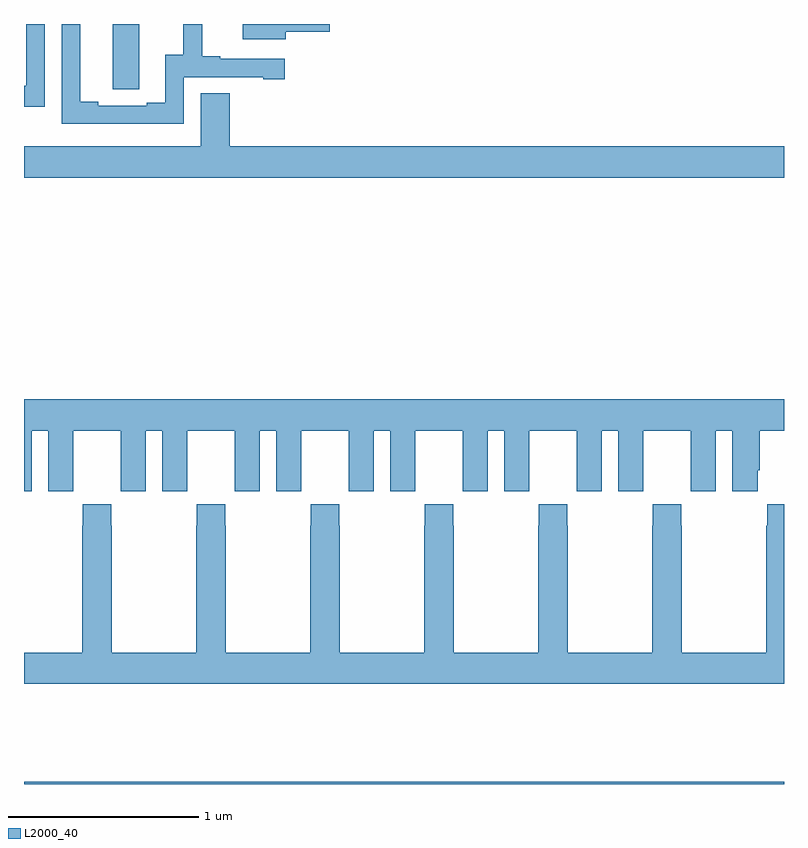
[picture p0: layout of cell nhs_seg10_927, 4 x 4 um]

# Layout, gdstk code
import gdstk
lib = gdstk.Library(unit=1e-6, precision=1e-09)
def R(c, l, rs):  # rectangles x0, y0, x1, y1
    for r in rs: c.add(gdstk.rectangle(r[:2], r[2:], *l))
def P(c, l, *ps):  # polygons
    for p in ps: c.add(gdstk.Polygon(p, *l))
L2000_40 = (2000, 40)

nhs_seg10_927 = lib.new_cell('nhs_seg10_927')
R(nhs_seg10_927, L2000_40, [(159,1254.5,163,1254.512)])
P(nhs_seg10_927, L2000_40, [(159.108,1258.5),(159.011,1258.5),(159.011,1258.174),(159,1258.174),(159,1258.064),(159.108,1258.064)],
  [(159.606,1258.264),(159.607,1258.264),(159.607,1258.5),(159.467,1258.5),(159.467,1258.156),(159.606,1258.156)],
  [(159.84,1258.221),(160.259,1258.221),(160.259,1258.209),(160.372,1258.209),(160.372,1258.317),(160.033,1258.317),(160.033,1258.33),(159.938,1258.33),(159.938,1258.5),(159.838,1258.5),(159.838,1258.337),(159.743,1258.337),(159.743,1258.086),(159.647,1258.086),(159.647,1258.071),(159.391,1258.071),(159.391,1258.091),(159.295,1258.091),(159.295,1258.5),(159.198,1258.5),(159.198,1257.975),(159.84,1257.975)],
  [(160.378,1258.46),(160.609,1258.46),(160.609,1258.5),(160.151,1258.5),(160.151,1258.421),(160.378,1258.421)],
  [(163,1257.856),(160.082,1257.856),(160.082,1258.136),(159.929,1258.136),(159.929,1257.856),(159,1257.856),(159,1257.692),(163,1257.692)],
  [(159,1256.04),(159.04,1256.04),(159.04,1256.36),(159.128,1256.36),(159.128,1256.04),(159.258,1256.04),(159.258,1256.152),(159.259,1256.152),(159.259,1256.36),(159.509,1256.36),(159.509,1256.152),(159.51,1256.152),(159.51,1256.04),(159.64,1256.04),(159.64,1256.36),(159.728,1256.36),(159.728,1256.04),(159.858,1256.04),(159.858,1256.152),(159.859,1256.152),(159.859,1256.36),(160.109,1256.36),(160.109,1256.152),(160.11,1256.152),(160.11,1256.04),(160.24,1256.04),(160.24,1256.36),(160.328,1256.36),(160.328,1256.04),(160.458,1256.04),(160.458,1256.152),(160.459,1256.152),(160.459,1256.36),(160.709,1256.36),(160.709,1256.152),(160.71,1256.152),(160.71,1256.04),(160.84,1256.04),(160.84,1256.36),(160.928,1256.36),(160.928,1256.04),(161.058,1256.04),(161.058,1256.152),(161.059,1256.152),(161.059,1256.36),(161.309,1256.36),(161.309,1256.152),(161.31,1256.152),(161.31,1256.04),(161.44,1256.04),(161.44,1256.36),(161.528,1256.36),(161.528,1256.04),(161.658,1256.04),(161.658,1256.152),(161.659,1256.152),(161.659,1256.36),(161.909,1256.36),(161.909,1256.152),(161.91,1256.152),(161.91,1256.04),(162.04,1256.04),(162.04,1256.36),(162.128,1256.36),(162.128,1256.04),(162.258,1256.04),(162.258,1256.152),(162.259,1256.152),(162.259,1256.36),(162.509,1256.36),(162.509,1256.152),(162.51,1256.152),(162.51,1256.04),(162.64,1256.04),(162.64,1256.36),(162.728,1256.36),(162.728,1256.04),(162.862,1256.04),(162.862,1256.152),(162.872,1256.152),(162.872,1256.36),(163,1256.36),(163,1256.524),(159,1256.524)],
  [(161.859,1255.859),(161.859,1255.972),(161.709,1255.972),(161.709,1255.859),(161.707,1255.859),(161.707,1255.192),(161.262,1255.192),(161.262,1255.859),(161.259,1255.859),(161.259,1255.972),(161.109,1255.972),(161.109,1255.859),(161.107,1255.859),(161.107,1255.192),(160.662,1255.192),(160.662,1255.859),(160.659,1255.859),(160.659,1255.972),(160.509,1255.972),(160.509,1255.859),(160.507,1255.859),(160.507,1255.192),(160.062,1255.192),(160.062,1255.859),(160.059,1255.859),(160.059,1255.972),(159.909,1255.972),(159.909,1255.859),(159.907,1255.859),(159.907,1255.192),(159.462,1255.192),(159.462,1255.859),(159.459,1255.859),(159.459,1255.972),(159.309,1255.972),(159.309,1255.859),(159.307,1255.859),(159.307,1255.192),(159,1255.192),(159,1255.028),(163,1255.028),(163,1255.972),(162.913,1255.972),(162.913,1255.859),(162.907,1255.859),(162.907,1255.192),(162.462,1255.192),(162.462,1255.859),(162.459,1255.859),(162.459,1255.972),(162.309,1255.972),(162.309,1255.859),(162.307,1255.859),(162.307,1255.192),(161.862,1255.192),(161.862,1255.859)])

lib.write_gds('nhs_seg10_927.gds')
